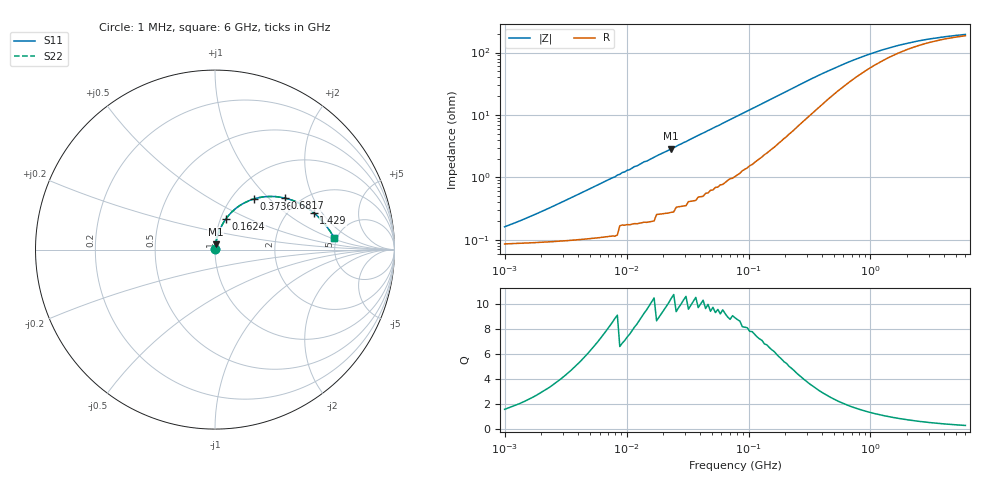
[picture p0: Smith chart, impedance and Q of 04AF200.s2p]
# MHz S MA R 50
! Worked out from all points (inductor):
!   189 points, 1 MHz to 6 GHz, reference 50 ohm
!   read as one part in series: L = 21.1 nH near 2.097 MHz
!   highest Q = 10.4 at 23.26 MHz (marker M1), where L = 19.7 nH
!   S11 on the Smith chart (normalised r, x): 1 MHz: 1.00, +0.00; 162.4 MHz: 1.06, +0.38; 373.6 MHz: 1.26, +0.81; 681.7 MHz: 1.69, +1.27; 1.429 GHz: 2.68, +1.68; 6 GHz: 4.72, +1.14
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1  0.001542 62.3  0.999 -0.1  0.999 -0.1  0.001542 62.3
4.396  0.005815 79.3  0.999 -0.3  0.999 -0.3  0.005815 79.3
8.023  0.01 81.8  0.999 -0.6  0.999 -0.6  0.01 81.8
8.403  0.011 81.9  0.999 -0.6  0.999 -0.6  0.011 81.9
8.801  0.011 82.0  0.998 -0.6  0.998 -0.6  0.011 82.0
9.218  0.012 82.1  0.998 -0.7  0.998 -0.7  0.012 82.1
10.591  0.013 82.4  0.998 -0.8  0.998 -0.8  0.013 82.4
11.618  0.015 82.5  0.998 -0.8  0.998 -0.8  0.015 82.5
12.168  0.015 82.6  0.998 -0.9  0.998 -0.9  0.015 82.6
13.98  0.018 82.7  0.998 -1.0  0.998 -1.0  0.018 82.7
14.642  0.018 82.7  0.998 -1.0  0.998 -1.0  0.018 82.7
18.454  0.023 82.8  0.997 -1.3  0.997 -1.3  0.023 82.8
23.258  0.029 82.6  0.997 -1.6  0.997 -1.6  0.029 82.6
77.46  0.091 78.3  0.986 -5.2  0.986 -5.2  0.091 78.3
162.413  0.182 70.4  0.955 -10.3  0.955 -10.3  0.182 70.4
235.176  0.252 63.7  0.917 -14.2  0.917 -14.2  0.252 63.7
340.538  0.335 54.9  0.853 -18.7  0.853 -18.7  0.335 54.9
373.558  0.356 52.4  0.832 -19.8  0.832 -19.8  0.356 52.4
681.732  0.485 36.3  0.673 -25.2  0.673 -25.2  0.485 36.3
1429.415  0.587 20.4  0.494 -24.5  0.494 -24.5  0.587 20.4
2608.635  0.633 12.2  0.405 -19.3  0.405 -19.3  0.633 12.2
6000  0.667 5.8  0.343 -11.3  0.343 -11.3  0.667 5.8
